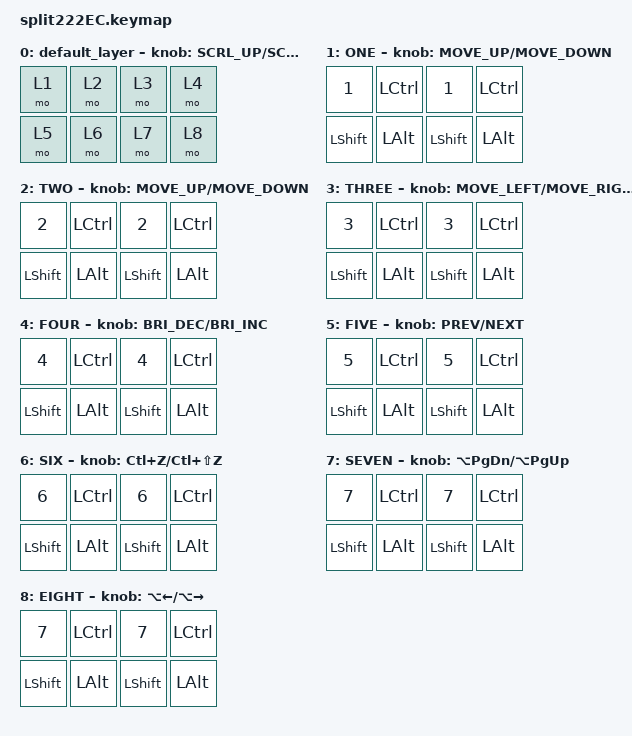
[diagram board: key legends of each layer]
#include <behaviors.dtsi>
#include <dt-bindings/zmk/bt.h>

#define ZMK_POINTING_DEFAULT_MOVE_VAL 800
#define ZMK_POINTING_DEFAULT_SCRL_VAL 120
#include <dt-bindings/zmk/pointing.h>

#include <input/processors.dtsi>

#define ONE 1
#define TWO 2
#define THREE 3
#define FOUR 4
#define FIVE 5
#define SIX 6
#define SEVEN 7
#define EIGHT 8

&mmv {
    delay-ms = <0>;
    trigger-period-ms = <10>;
    time-to-max-speed-ms = <0>;
    acceleration-exponent = <1>;
};

&mmv_input_listener {
    warp {
        layers = <ONE>;
        input-processors = <&zip_xy_scaler 2 1>;
    };
    precision {
        layers = <TWO>;
        input-processors = <&zip_xy_scaler 1 4>;
    };
};

{
    behaviors {
        rot_kp: sensor_rotate_kp {
            compatible = "zmk,behavior-sensor-rotate-var";
            #sensor-binding-cells = <2>;
            bindings = <&kp>, <&kp>;
        };

        mouse_click: mouse_button_kp {
            compatible = "zmk,behavior-sensor-rotate-var";
            #sensor-binding-cells = <2>;
            bindings = <&mkp>, <&mkp>;
        };

        mouse_mv: mouse_cursor_move {
            compatible = "zmk,behavior-sensor-rotate-var";
            #sensor-binding-cells = <2>;
            bindings = <&mmv>, <&mmv>;
        };
    };

    keymap {
        compatible = "zmk,keymap";

        default_layer {
            bindings = <
                &mo 1 &mo 2 &mo 3 &mo 4
                &mo 5 &mo 6 &mo 7 &mo 8
            >;
            sensor-bindings = <mouse_scrl SCRL_UP SCRL_DOWN>;
        };

        ONE {
            bindings = <
                &kp N1 &kp LCTRL &kp N1 &kp LCTRL
                &kp LSHIFT &kp LALT &kp LSHIFT &kp LALT
            >;
            sensor-bindings = <&mouse_mv MOVE_UP MOVE_DOWN>;
        };

        TWO {
            bindings = <
                &kp N2 &kp LCTRL &kp N2 &kp LCTRL
                &kp LSHIFT &kp LALT &kp LSHIFT &kp LALT
            >;
            sensor-bindings = <&mouse_mv MOVE_UP MOVE_DOWN>;
        };

        THREE {
            bindings = <
                &kp N3 &kp LCTRL &kp N3 &kp LCTRL
                &kp LSHIFT &kp LALT &kp LSHIFT &kp LALT
            >;
            sensor-bindings = <&rot_kp MOVE_LEFT MOVE_RIGHT>;
        };

        FOUR {
            bindings = <
                &kp N4 &kp LCTRL &kp N4 &kp LCTRL
                &kp LSHIFT &kp LALT &kp LSHIFT &kp LALT
            >;
            sensor-bindings = <&rot_kp C_BRI_DEC C_BRI_INC>;
        };

        FIVE {
            bindings = <
                &kp N5 &kp LCTRL &kp N5 &kp LCTRL
                &kp LSHIFT &kp LALT &kp LSHIFT &kp LALT
            >;
            sensor-bindings = <&rot_kp C_PREV C_NEXT>;
        };

        SIX {
            bindings = <
                &kp N6 &kp LCTRL &kp N6 &kp LCTRL
                &kp LSHIFT &kp LALT &kp LSHIFT &kp LALT
            >;
            sensor-bindings = <&rot_kp LC(Z) LC(LS(Z))>;
        };

        SEVEN {
            bindings = <
                &kp N7 &kp LCTRL &kp N7 &kp LCTRL
                &kp LSHIFT &kp LALT &kp LSHIFT &kp LALT
            >;
            sensor-bindings = <&rot_kp LA(PG_DN) LA(PG_UP)>;
        };

        EIGHT {
            bindings = <
                &kp N7 &kp LCTRL &kp N7 &kp LCTRL
                &kp LSHIFT &kp LALT &kp LSHIFT &kp LALT
            >;
            sensor-bindings = <&rot_kp LA(LEFT) LA(RIGHT)>;
        };
    };
};
